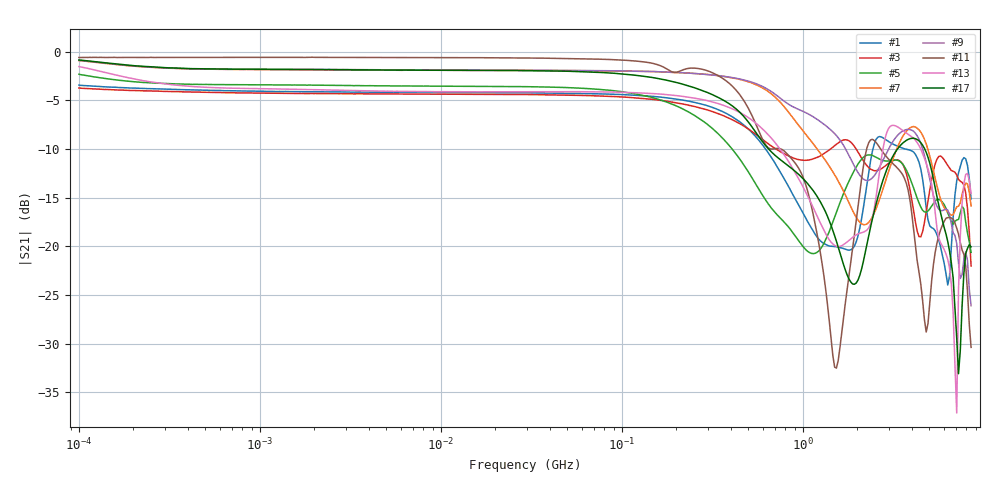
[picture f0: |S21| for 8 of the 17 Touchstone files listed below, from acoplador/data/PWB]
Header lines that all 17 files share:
# MHz S MA R 50
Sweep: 100 kHz to 8.5 GHz
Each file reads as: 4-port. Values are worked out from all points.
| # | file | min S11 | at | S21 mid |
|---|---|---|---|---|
| 1 | PWB-1-5-AL.s4p | -14.9 dB | 790.5 MHz | -4.2 dB at 29.49 MHz |
| 2 | PWB-1-5-BL.s4p | -10.9 dB | 970.9 MHz | -4.4 dB at 29.49 MHz |
| 3 | PWB-1-5-CL.s4p | -14.9 dB | 7.758 GHz | -4.4 dB at 29.49 MHz |
| 4 | PWB-2-AL.s4p | -14.9 dB | 7.583 GHz | -3.6 dB at 29.49 MHz |
| 5 | PWB-2-BL.s4p | -20.1 dB | 808.8 MHz | -3.6 dB at 29.49 MHz |
| 6 | PWB-2-CL.s4p | -12.8 dB | 7.583 GHz | -3.6 dB at 29.49 MHz |
| 7 | PWB-4-AL.s4p | -17.4 dB | 100 kHz | -1.9 dB at 29.49 MHz |
| 8 | PWB-4-BL.s4p | -17.9 dB | 100 kHz | -1.9 dB at 29.49 MHz |
| 9 | PWB-4-CL.s4p | -17.5 dB | 102.3 kHz | -1.9 dB at 29.49 MHz |
| 10 | PWB-16-AL.s4p | -24.4 dB | 1.515 MHz | -0.6 dB at 29.49 MHz |
| 11 | PWB-16-BL.s4p | -28.6 dB | 187.5 MHz | -0.6 dB at 29.49 MHz |
| 12 | PWB-1010-1L.s4p | -12.6 dB | 500.7 MHz | -5.9 dB at 29.49 MHz |
| 13 | PWB-1015L.s4p | -17.0 dB | 7.583 GHz | -4.1 dB at 29.49 MHz |
| 14 | PWB-1040L.s4p | -17.2 dB | 100 kHz | -1.9 dB at 29.49 MHz |
| 15 | PWB-2040L.s4p | -17.4 dB | 100 kHz | -1.9 dB at 29.49 MHz |
| 16 | PWB-3015L.s4p | -12.0 dB | 100 kHz | -4.1 dB at 29.49 MHz |
| 17 | PWB-3040L.s4p | -17.7 dB | 102.3 kHz | -1.9 dB at 29.49 MHz |
